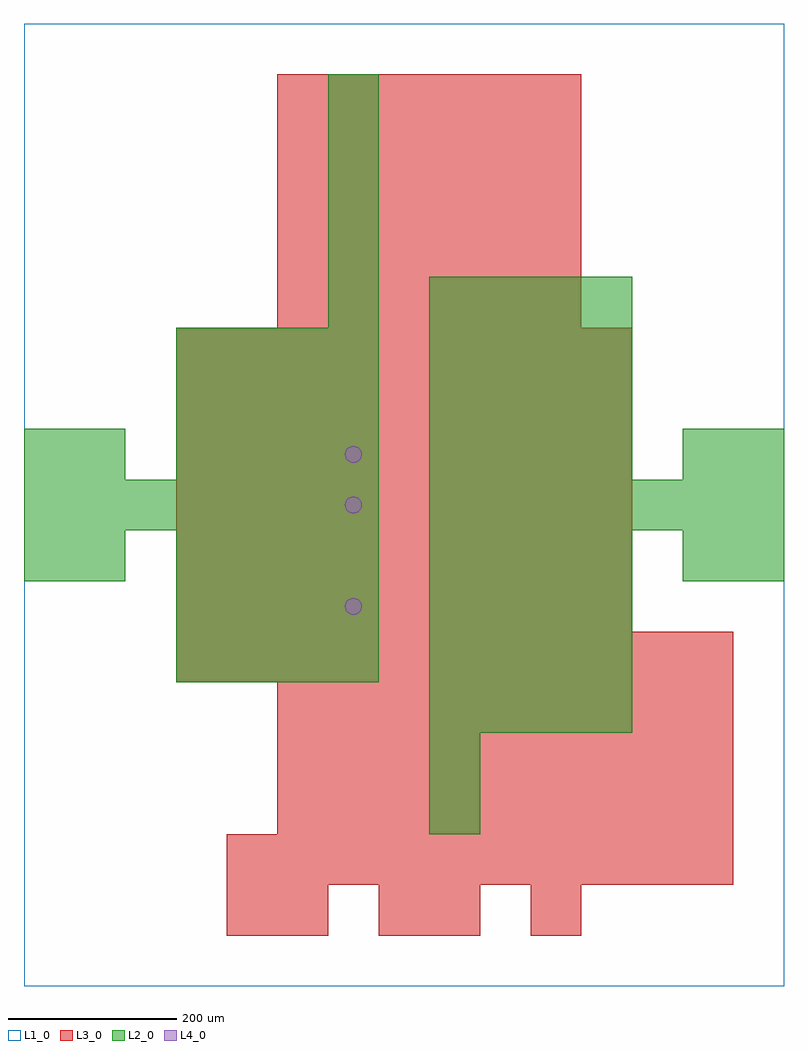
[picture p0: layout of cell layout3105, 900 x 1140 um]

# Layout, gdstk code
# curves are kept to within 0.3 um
import gdstk
lib = gdstk.Library(unit=1e-6, precision=1e-09)
def R(c, l, rs):  # rectangles x0, y0, x1, y1
    for r in rs: c.add(gdstk.rectangle(r[:2], r[2:], *l))
def A(c, l, x, y, w, h, nx, ny, dx, dy):  # array of equal rectangles
    R(c, l, [(x+i*dx, y+j*dy, x+i*dx+w, y+j*dy+h) for i in range(nx) for j in range(ny)])
def P(c, l, *ps):  # polygons
    for p in ps: c.add(gdstk.Polygon(p, *l))
L1_0 = (1, 0)
L2_0 = (2, 0)
L3_0 = (3, 0)
L4_0 = (4, 0)

layout3105 = lib.new_cell('layout3105')
R(layout3105, L1_0, [(0,0,900,1140)])
A(layout3105, L2_0, 480, 300, 60, 60, 4, 4, 60, 60)
A(layout3105, L2_0, 180, 360, 60, 60, 4, 3, 60, 60)
A(layout3105, L2_0, 0, 540, 60, 60, 7, 1, 60, 0)
A(layout3105, L2_0, 480, 540, 60, 60, 7, 1, 60, 0)
A(layout3105, L2_0, 180, 600, 60, 60, 4, 3, 60, 60)
A(layout3105, L2_0, 480, 600, 60, 60, 4, 4, 60, 60)
A(layout3105, L2_0, 360, 780, 60, 60, 1, 5, 0, 60)
R(layout3105, L2_0, [(480,180,540,240), (480,240,540,300), (0,480,60,540), (60,480,120,540), (780,480,840,540), (840,480,900,540), (0,600,60,660), (60,600,120,660), (780,600,840,660), (840,600,900,660)])
A(layout3105, L3_0, 240, 120, 60, 60, 10, 1, 60, 0)
A(layout3105, L3_0, 300, 180, 60, 60, 9, 3, 60, 60)
A(layout3105, L3_0, 180, 360, 60, 60, 11, 1, 60, 0)
A(layout3105, L3_0, 180, 420, 60, 60, 9, 6, 60, 60)
A(layout3105, L3_0, 300, 780, 60, 60, 6, 5, 60, 60)
R(layout3105, L3_0, [(240,60,300,120), (300,60,360,120), (420,60,480,120), (480,60,540,120), (600,60,660,120)])
P(layout3105, L4_0, [(400,450),(399.239,453.827),(397.071,457.071),(393.827,459.239),(390,460),(386.173,459.239),(382.929,457.071),(380.761,453.827),(380,450),(380.761,446.173),(382.929,442.929),(386.173,440.761),(390,440),(393.827,440.761),(397.071,442.929),(399.239,446.173)],
  [(400,570),(399.239,573.827),(397.071,577.071),(393.827,579.239),(390,580),(386.173,579.239),(382.929,577.071),(380.761,573.827),(380,570),(380.761,566.173),(382.929,562.929),(386.173,560.761),(390,560),(393.827,560.761),(397.071,562.929),(399.239,566.173)],
  [(400,630),(399.239,633.827),(397.071,637.071),(393.827,639.239),(390,640),(386.173,639.239),(382.929,637.071),(380.761,633.827),(380,630),(380.761,626.173),(382.929,622.929),(386.173,620.761),(390,620),(393.827,620.761),(397.071,622.929),(399.239,626.173)])

lib.write_gds('layout3105.gds')
